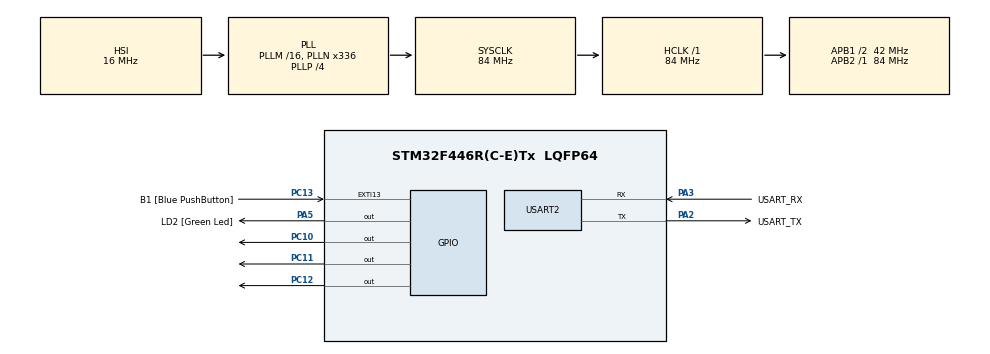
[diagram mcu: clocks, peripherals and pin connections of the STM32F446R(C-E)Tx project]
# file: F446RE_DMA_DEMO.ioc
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Mcu.Family=STM32F4
Mcu.Name=STM32F446R(C-E)Tx
Mcu.Package=LQFP64
NVIC.PriorityGroup=NVIC_PRIORITYGROUP_0
NVIC.USART2_IRQn=true\:0\:0\:false\:false\:true\:true\:true\:true
PA13.GPIO_Label=TMS
PA13.Mode=Serial_Wire
PA13.Signal=SYS_JTMS-SWDIO
PA14.GPIO_Label=TCK
PA14.Mode=Serial_Wire
PA14.Signal=SYS_JTCK-SWCLK
PA2.GPIO_Label=USART_TX
PA2.Mode=Asynchronous
PA2.Signal=USART2_TX
PA3.GPIO_Label=USART_RX
PA3.Mode=Asynchronous
PA3.Signal=USART2_RX
PA5.GPIO_Label=LD2 [Green Led]
PA5.Signal=GPIO_Output
PB3.GPIO_Label=SWO
PB3.Signal=SYS_JTDO-SWO
PC10.Signal=GPIO_Output
PC11.Signal=GPIO_Output
PC12.Signal=GPIO_Output
PC13.GPIO_Label=B1 [Blue PushButton]
PC13.GPIO_ModeDefaultEXTI=GPIO_MODE_IT_FALLING
PC13.Signal=GPXTI13
PC14-OSC32_IN.Mode=LSE-External-Oscillator
PC14-OSC32_IN.Signal=RCC_OSC32_IN
PC15-OSC32_OUT.Mode=LSE-External-Oscillator
PC15-OSC32_OUT.Signal=RCC_OSC32_OUT
PH0-OSC_IN.Mode=HSE-External-Oscillator
PH0-OSC_IN.Signal=RCC_OSC_IN
PH1-OSC_OUT.Mode=HSE-External-Oscillator
PH1-OSC_OUT.Signal=RCC_OSC_OUT
ProjectManager.HeapSize=0x200
ProjectManager.StackSize=0x400
ProjectManager.TargetToolchain=STM32CubeIDE
RCC.48MHZClocksFreq_Value=84000000
RCC.AHBFreq_Value=84000000
RCC.APB1CLKDivider=RCC_HCLK_DIV2
RCC.APB1Freq_Value=42000000
RCC.APB1TimFreq_Value=84000000
RCC.APB2Freq_Value=84000000
RCC.APB2TimFreq_Value=84000000
RCC.CortexFreq_Value=84000000
RCC.FLatency-AdvancedSettings=FLASH_LATENCY_2
RCC.HCLKFreq_Value=84000000
RCC.HSE_VALUE=8000000
RCC.HSI_VALUE=16000000
RCC.PLLN=336
RCC.PLLP=RCC_PLLP_DIV4
RCC.SYSCLKFreq_VALUE=84000000
RCC.SYSCLKSource=RCC_SYSCLKSOURCE_PLLCLK
RCC.USBFreq_Value=168000000
RCC.VCOOutputFreq_Value=336000000
USART2.VirtualMode=VM_ASYNC
board=NUCLEO-F446RE

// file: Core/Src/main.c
/* USER CODE BEGIN Header */
/**
 ******************************************************************************
 * @file           : main.c
 * @brief          : Main program body
 ******************************************************************************
 * @attention
 *
 * Copyright (c) 2023 STMicroelectronics.
 * All rights reserved.
 *
 * This software is licensed under terms that can be found in the LICENSE file
 * in the root directory of this software component.
 * If no LICENSE file comes with this software, it is provided AS-IS.
 *
 ******************************************************************************
 */
/* USER CODE END Header */
#include "main.h"

UART_HandleTypeDef huart2;

void SystemClock_Config(void);
static void MX_GPIO_Init(void);
static void MX_USART2_UART_Init(void);

/* USER CODE BEGIN 0 */
uint8_t SrcData[50];
#define OFFSET 0x500
#define DestAddress (uint8_t*)(SRAM1_BASE+OFFSET)

/* USER CODE END 0 */

int main(void)
{
	/* USER CODE BEGIN 1 */
	uint8_t i;

	/* USER CODE END 1 */

	/* MCU Configuration--------------------------------------------------------*/

	/* Reset of all peripherals, Initializes the Flash interface and the Systick. */
	HAL_Init();

	/* Configure the system clock */
	SystemClock_Config();

	/* Initialize all configured peripherals */
	MX_GPIO_Init();
	MX_USART2_UART_Init();
	/* USER CODE BEGIN 2 */
	for(i=0;i<50;i++)
	{
		SrcData[i]=0xAA;
	}

	HAL_UART_Receive_IT(&huart2,(uint8_t*)SRAM2_BASE,250);
	/* USER CODE END 2 */

	/* Infinite loop */
	while (1)
	{

		/* USER CODE BEGIN 3 */
		HAL_GPIO_WritePin(GPIOC, GPIO_PIN_10, GPIO_PIN_SET);
		for(i=0;i<50;i++)
		{
			*(DestAddress+i)=SrcData[i];
		}
		HAL_GPIO_WritePin(GPIOC, GPIO_PIN_10, GPIO_PIN_RESET);

	}
	/* USER CODE END 3 */
}

void SystemClock_Config(void)
{
	RCC_OscInitTypeDef RCC_OscInitStruct = {0};
	RCC_ClkInitTypeDef RCC_ClkInitStruct = {0};

	/** Configure the main internal regulator output voltage
	 */
	__HAL_RCC_PWR_CLK_ENABLE();
	__HAL_PWR_VOLTAGESCALING_CONFIG(PWR_REGULATOR_VOLTAGE_SCALE3);

	/** Initializes the RCC Oscillators according to the specified parameters
	 * in the RCC_OscInitTypeDef structure.
	 */
	RCC_OscInitStruct.OscillatorType = RCC_OSCILLATORTYPE_HSI;
	RCC_OscInitStruct.HSIState = RCC_HSI_ON;
	RCC_OscInitStruct.HSICalibrationValue = RCC_HSICALIBRATION_DEFAULT;
	RCC_OscInitStruct.PLL.PLLState = RCC_PLL_ON;
	RCC_OscInitStruct.PLL.PLLSource = RCC_PLLSOURCE_HSI;
	RCC_OscInitStruct.PLL.PLLM = 16;
	RCC_OscInitStruct.PLL.PLLN = 336;
	RCC_OscInitStruct.PLL.PLLP = RCC_PLLP_DIV4;
	RCC_OscInitStruct.PLL.PLLQ = 2;
	RCC_OscInitStruct.PLL.PLLR = 2;
	if (HAL_RCC_OscConfig(&RCC_OscInitStruct) != HAL_OK)
	{
		Error_Handler();
	}

	/** Initializes the CPU, AHB and APB buses clocks
	 */
	RCC_ClkInitStruct.ClockType = RCC_CLOCKTYPE_HCLK|RCC_CLOCKTYPE_SYSCLK
			|RCC_CLOCKTYPE_PCLK1|RCC_CLOCKTYPE_PCLK2;
	RCC_ClkInitStruct.SYSCLKSource = RCC_SYSCLKSOURCE_PLLCLK;
	RCC_ClkInitStruct.AHBCLKDivider = RCC_SYSCLK_DIV1;
	RCC_ClkInitStruct.APB1CLKDivider = RCC_HCLK_DIV2;
	RCC_ClkInitStruct.APB2CLKDivider = RCC_HCLK_DIV1;

	if (HAL_RCC_ClockConfig(&RCC_ClkInitStruct, FLASH_LATENCY_2) != HAL_OK)
	{
		Error_Handler();
	}
}

static void MX_USART2_UART_Init(void)
{

	huart2.Instance = USART2;
	huart2.Init.BaudRate = 115200;
	huart2.Init.WordLength = UART_WORDLENGTH_8B;
	huart2.Init.StopBits = UART_STOPBITS_1;
	huart2.Init.Parity = UART_PARITY_NONE;
	huart2.Init.Mode = UART_MODE_TX_RX;
	huart2.Init.HwFlowCtl = UART_HWCONTROL_NONE;
	huart2.Init.OverSampling = UART_OVERSAMPLING_16;
	if (HAL_UART_Init(&huart2) != HAL_OK)
	{
		Error_Handler();
	}

}

static void MX_GPIO_Init(void)
{
	GPIO_InitTypeDef GPIO_InitStruct = {0};

	/* GPIO Ports Clock Enable */
	__HAL_RCC_GPIOC_CLK_ENABLE();
	__HAL_RCC_GPIOH_CLK_ENABLE();
	__HAL_RCC_GPIOA_CLK_ENABLE();
	__HAL_RCC_GPIOB_CLK_ENABLE();

	/*Configure GPIO pin Output Level */
	HAL_GPIO_WritePin(LD2_GPIO_Port, LD2_Pin, GPIO_PIN_RESET);

	/*Configure GPIO pin Output Level */
	HAL_GPIO_WritePin(GPIOC, GPIO_PIN_10|GPIO_PIN_11|GPIO_PIN_12, GPIO_PIN_RESET);

	/*Configure GPIO pin : B1_Pin */
	GPIO_InitStruct.Pin = B1_Pin;
	GPIO_InitStruct.Mode = GPIO_MODE_IT_FALLING;
	GPIO_InitStruct.Pull = GPIO_NOPULL;
	HAL_GPIO_Init(B1_GPIO_Port, &GPIO_InitStruct);

	/*Configure GPIO pin : LD2_Pin */
	GPIO_InitStruct.Pin = LD2_Pin;
	GPIO_InitStruct.Mode = GPIO_MODE_OUTPUT_PP;
	GPIO_InitStruct.Pull = GPIO_NOPULL;
	GPIO_InitStruct.Speed = GPIO_SPEED_FREQ_LOW;
	HAL_GPIO_Init(LD2_GPIO_Port, &GPIO_InitStruct);

	/*Configure GPIO pins : PC10 PC11 PC12 */
	GPIO_InitStruct.Pin = GPIO_PIN_10|GPIO_PIN_11|GPIO_PIN_12;
	GPIO_InitStruct.Mode = GPIO_MODE_OUTPUT_PP;
	GPIO_InitStruct.Pull = GPIO_NOPULL;
	GPIO_InitStruct.Speed = GPIO_SPEED_FREQ_LOW;
	HAL_GPIO_Init(GPIOC, &GPIO_InitStruct);

}

/* USER CODE BEGIN 4 */
void HAL_UART_RxCpltCallback(UART_HandleTypeDef *huart)
{
	HAL_GPIO_WritePin(GPIOC, GPIO_PIN_12, GPIO_PIN_SET);
	HAL_GPIO_WritePin(GPIOC, GPIO_PIN_12, GPIO_PIN_RESET);

	HAL_UART_Receive_IT(&huart2,(uint8_t*)SRAM2_BASE,250);
}
/* USER CODE END 4 */

void Error_Handler(void)
{
	__disable_irq();
	while (1)
	{
	}
}
